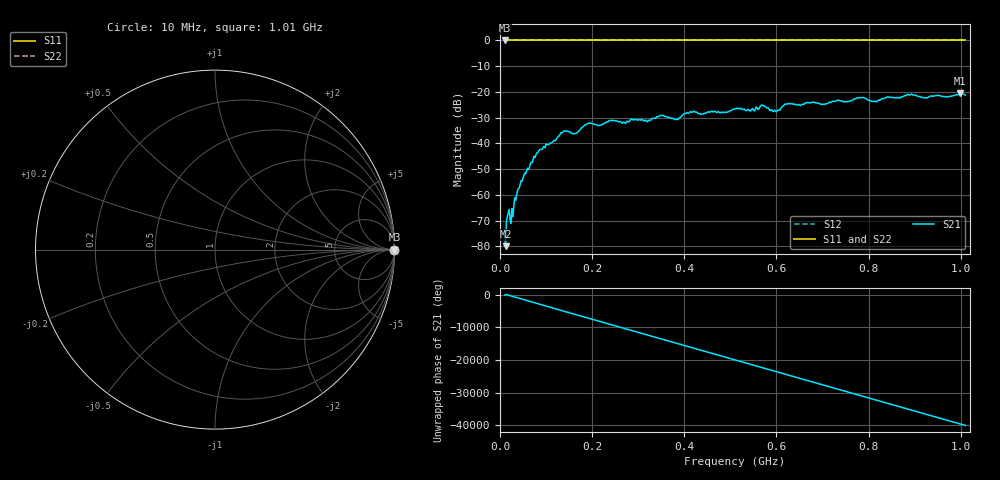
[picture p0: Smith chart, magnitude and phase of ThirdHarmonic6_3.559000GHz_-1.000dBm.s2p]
! 8/17/2025 11:46:03 AM
! C:\ANRITSUVNA\TEMP\TEMP.S2P
! CHANNEL.1
! TR.MEASUREMENT
! RAW.DATA
! RF.CORRECTION.OFF
! AVERAGING.OFF
! IF.BANDWIDTH: 5KHZ
! SWEEPTYPE:  FREQ.SWEEP(Linear)
! Reference Plane Port Info
! PORT:  PORT1  PORT2
! DISTANCE:  0  m  0  m
! TIME:  0  s  0  s
! PHASE.OFFSET:  0  deg.  0  deg.
! LOSS:  0  dB  0  dB
! REF.LOSS:  0  dB  0  dB
! REF.FREQ:  0  Hz  0  Hz
! Power Info
! POWER:  -20  dBm  -20  dBm
! EFF.POWER:  -20  dBm  -20  dBm
! SOURCE.ATTEN:  0  dB  0  dB
! TEST.ATTEN:  0  dB  0  dB
# GHZ S RI R 50.0
! FREQ.GHZ  S11RE  S11IM  S21RE  S21IM  S12RE  S12IM  S22RE  S22IM
!; PortSelection: Port_12
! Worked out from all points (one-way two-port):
!   501 points, 10 MHz to 1.01 GHz, reference 50 ohm
!   highest |S21| = -20.57 dB at 998 MHz (marker M1); lowest = -79.9 dB at 12 MHz (marker M2)
!   lowest |S11| = 0.0 dB at 10 MHz (marker M3)
!   |S11| at or under -10 dB: nowhere
!   |S22| runs from 0.0 to 0.0 dB; largest |S21 - S12| = 1.1
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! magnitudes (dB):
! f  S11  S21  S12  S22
! 10 MHz  0.0  -73.6  0.0  0.0
! 12 MHz  0.0  -79.9  0.0  0.0
! 18 MHz  0.0  -67.0  0.0  0.0
! 26 MHz  0.0  -65.4  0.0  0.0
! 42 MHz  0.0  -57.3  0.0  0.0
! 82 MHz  0.0  -43.5  0.0  0.0
! 136 MHz  0.0  -35.8  0.0  0.0
! 162 MHz  0.0  -36.2  0.0  0.0
! 178 MHz  0.0  -33.8  0.0  0.0
! 344 MHz  0.0  -29.7  0.0  0.0
! 384 MHz  0.0  -30.6  0.0  0.0
! 416 MHz  0.0  -28.0  0.0  0.0
! 510 MHz  0.0  -26.5  0.0  0.0
! 570 MHz  0.0  -25.1  0.0  0.0
! 596 MHz  0.0  -27.1  0.0  0.0
! 622 MHz  0.0  -24.7  0.0  0.0
! 678 MHz  0.0  -24.0  0.0  0.0
! 784 MHz  0.0  -22.2  0.0  0.0
! 814 MHz  0.0  -23.6  0.0  0.0
! 844 MHz  0.0  -22.0  0.0  0.0
! 998 MHz  0.0  -20.6  0.0  0.0
! 1.01 GHz  0.0  -21.2  0.0  0.0
